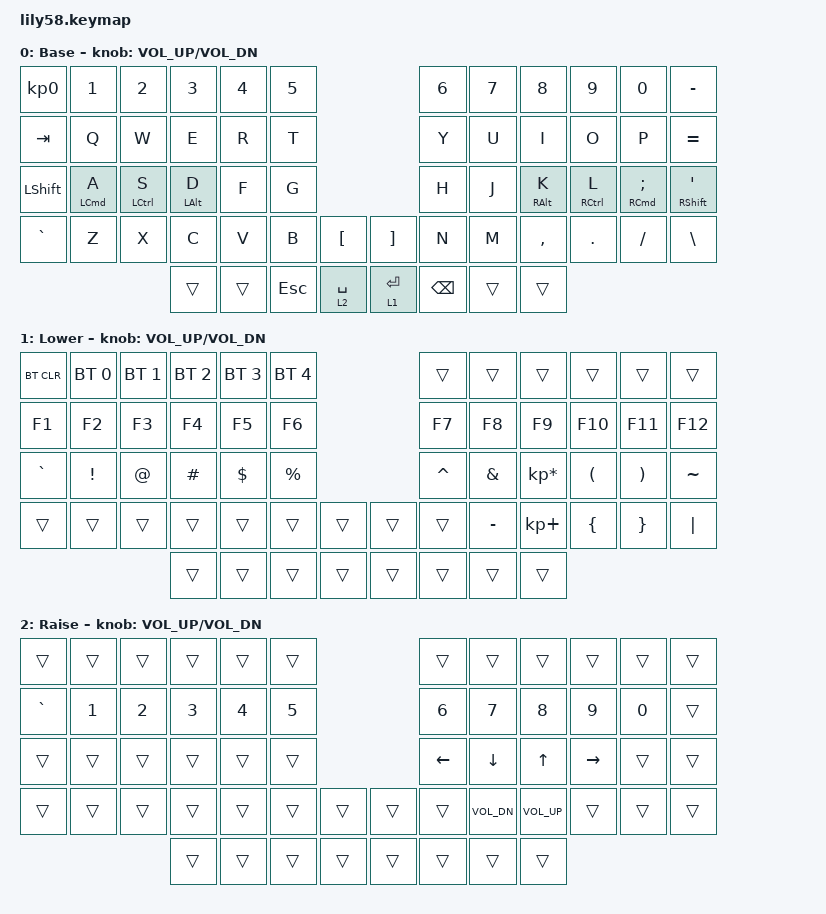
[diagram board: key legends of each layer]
/*
 * Copyright (c) 2020 The ZMK Contributors
 *
 * SPDX-License-Identifier: MIT
 */

#include <behaviors.dtsi>
#include <dt-bindings/zmk/bt.h>
#include <dt-bindings/zmk/keys.h>

/ {
    behaviors {
        behavior_ESC: behavior_ESC {
            compatible = "zmk,behavior-tap-dance";
            label = "BEHAVIOR_ESC";
            #binding-cells = <0>;
            bindings = <&kp KP_NUMBER_0>, <&kp ESC>;
        };

        tap_unless_interrupted: tap_unless_interrupted {
            compatible = "zmk,behavior-hold-tap";
            label = "TAP_UNLESS_INTERRUPTED";
            bindings = <&kp>, <&kp>;

            #binding-cells = <2>;
            flavor = "tap-preferred";
            tapping-term-ms = <200>;
        };
    };

    keymap {
        compatible = "zmk,keymap";

        default_layer {
            // ------------------------------------------------------------------------------------------------------------
            // |  ESC  |  1  |  2  |  3   |  4   |  5   |                   |  6   |  7    |  8    |  9   |   0   |   `   |
            // |  TAB  |  Q  |  W  |  E   |  R   |  T   |                   |  Y   |  U    |  I    |  O   |   P   |   -   |
            // |  CTRL |  A  |  S  |  D   |  F   |  G   |                   |  H   |  J    |  K    |  L   |   ;   |   '   |
            // | SHIFT |  Z  |  X  |  C   |  V   |  B   |   "["  |  |  "]"  |  N   |  M    |  ,    |  .   |   /   | SHIFT |
            //                     | ALT  | GUI  | LOWER|  SPACE |  | ENTER | RAISE| BSPC  | GUI   |

            display-name = "Base";
            bindings = <
&kp KP_NUMBER_0  &kp N1                                  &kp N2                                  &kp N3                              &kp N4  &kp N5                             &kp N6         &kp N7  &kp N8                               &kp N9                                   &kp N0                                           &kp MINUS
&kp TAB          &kp Q                                   &kp W                                   &kp E                               &kp R   &kp T                              &kp Y          &kp U   &kp I                                &kp O                                    &kp P                                            &kp EQUAL
&kp LSHIFT       &tap_unless_interrupted LEFT_COMMAND A  &tap_unless_interrupted LEFT_CONTROL S  &tap_unless_interrupted LEFT_ALT D  &kp F   &kp G                              &kp H          &kp J   &tap_unless_interrupted RIGHT_ALT K  &tap_unless_interrupted RIGHT_CONTROL L  &tap_unless_interrupted RIGHT_COMMAND SEMICOLON  &tap_unless_interrupted RIGHT_SHIFT SINGLE_QUOTE
&kp GRAVE        &kp Z                                   &kp X                                   &kp C                               &kp V   &kp B    &kp LBKT       &kp RBKT   &kp N          &kp M   &kp COMMA                            &kp DOT                                  &kp FSLH                                         &kp BACKSLASH
                                                                                                 &trans                              &trans  &kp ESC  &lt 2 SPACE    &lt 1 RET  &kp BACKSPACE  &trans  &trans
            >;

            sensor-bindings = <&inc_dec_kp C_VOL_UP C_VOL_DN>;
        };

        lower_layer {
            // ------------------------------------------------------------------------------------------------------------
            // | BTCLR | BT1 | BT2 |  BT3 |  BT4 |  BT5 |                   |      |       |       |      |       |       |
            // |  F1   |  F2 |  F3 |  F4  |  F5  |  F6  |                   |  F7  |  F8   |  F9   |  F10 |  F11  |  F12  |
            // |   `   |  !  |  @  |  #   |  $   |  %   |                   |  ^   |  &    |  *    |  (   |   )   |   ~   |
            // |       |     |     |      |      |      |        |  |       |      |  _    |  +    |  {   |   }   |  "|"  |
            //                     |      |      |      |        |  |       |      |       |       |

            display-name = "Lower";
            bindings = <
&bt BT_CLR  &bt BT_SEL 0  &bt BT_SEL 1  &bt BT_SEL 2  &bt BT_SEL 3  &bt BT_SEL 4                    &trans     &trans     &trans           &trans    &trans    &trans
&kp F1      &kp F2        &kp F3        &kp F4        &kp F5        &kp F6                          &kp F7     &kp F8     &kp F9           &kp F10   &kp F11   &kp F12
&kp GRAVE   &kp EXCL      &kp AT        &kp HASH      &kp DOLLAR    &kp PRCNT                       &kp CARET  &kp AMPS   &kp KP_MULTIPLY  &kp LPAR  &kp RPAR  &kp TILDE
&trans      &trans        &trans        &trans        &trans        &trans        &trans    &trans  &trans     &kp MINUS  &kp KP_PLUS      &kp LBRC  &kp RBRC  &kp PIPE
                                        &trans        &trans        &trans        &trans    &trans  &trans     &trans     &trans
            >;

            sensor-bindings = <&inc_dec_kp C_VOL_UP C_VOL_DN>;
        };

        raise_layer {
            // ------------------------------------------------------------------------------------------------------------
            // |       |     |     |      |      |      |                   |      |       |       |      |       |       |
            // |   `   |  1  |  2  |  3   |  4   |  5   |                   |  6   |   7   |   8   |  9   |   0   |       |
            // |   F1  |  F2 |  F3 |  F4  |  F5  |  F6  |                   |      |   <-  |   v   |  ^   |  ->   |       |
            // |   F7  |  F8 |  F9 |  F10 |  F11 |  F12 |        |  |       |  +   |   -   |   =   |  [   |   ]   |   \   |
            //                     |      |      |      |        |  |       |      |       |       |

            display-name = "Raise";
            bindings = <
&trans     &trans  &trans  &trans  &trans  &trans                    &trans          &trans          &trans           &trans     &trans  &trans
&kp GRAVE  &kp N1  &kp N2  &kp N3  &kp N4  &kp N5                    &kp N6          &kp N7          &kp N8           &kp N9     &kp N0  &trans
&trans     &trans  &trans  &trans  &trans  &trans                    &kp LEFT_ARROW  &kp DOWN_ARROW  &kp UP_ARROW     &kp RIGHT  &trans  &trans
&trans     &trans  &trans  &trans  &trans  &trans  &trans    &trans  &trans          &kp C_VOL_DN    &kp C_VOLUME_UP  &trans     &trans  &trans
                           &trans  &trans  &trans  &trans    &trans  &trans          &trans          &trans
            >;

            sensor-bindings = <&inc_dec_kp C_VOL_UP C_VOL_DN>;
        };
    };
};
